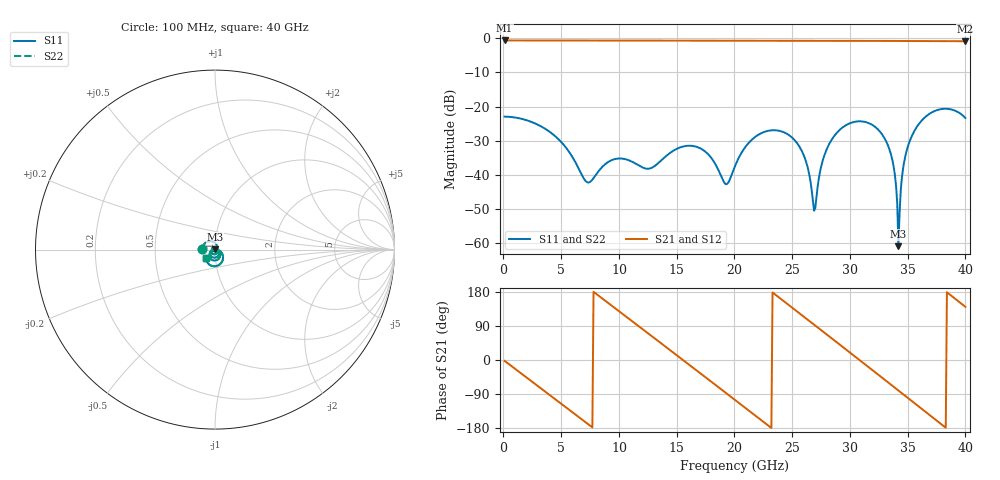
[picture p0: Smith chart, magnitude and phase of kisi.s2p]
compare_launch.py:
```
"""Compare CST results of the connector launch (cst_launch.py) with kisi-fdtd's board-side launch cases and
Samtec's RF characterization report (README_cst_launch.md).

  python3 compare_launch.py --cst launch1=OUT/launch1_default_jlc4_7628/cst_mid.s2p \\
      [--cst thru2=OUT/thru2_.../cst_base.s2p] [--cst bench2=...] [--cascade launch1] \\
      [--kisi default] [--kisi-file LABEL=path.s2p] [--out compare_launch.png]

--cst LABEL=FILE    a CST Touchstone file (any number); port 1 = connector (coax, mating plane)
--cascade LABEL     also the 2xthru built from a one-connector result: S cascaded with itself reversed (exact for
                    the network when the line mode alone links the halves; coupling between the two launches across
                    the board is not in it) - the thru2 / bench2 result where the full model does not fit the mesh
--kisi VARIANT      kisi-fdtd result fdtd_ref/launch_jlc4_7628/launch_jlc4_7628_VARIANT/kisi.s2p (board side only:
                    lumped port at the board edge instead of the connector, 2.5 mm of line after the launch); compare it
                    1:1 with cst_launch.py --model board_only
--tdr PS[,PS]       also the TDR (step response of S11, Gaussian edge 10-90 % = PS ps; default 10,25) in a third panel;
                    time is the round trip from port 1 (connector models: the mating plane; the board edge then lies at
                    about 64 ps, --edge-ps); --shift LABEL=PS moves one curve (e.g. a board_only result to the edge)
Samtec's numbers (report 2023-06-01, connectors.json connector.benchmark) are drawn as markers: max |S11| (VSWR)
and |S21| at 40 GHz for one connector + 500 mil and two connectors + 1 in on their MT40 fixture.
Needs numpy and matplotlib (any Python, not CST's).
"""
import argparse, json, os
import numpy as np

HERE = os.path.dirname(os.path.abspath(__file__))
BENCH_DEFAULT = {  # connectors.json connector.benchmark (copy for use outside the repository)
    "one_connector_500mil": {"s11_max_db": [-25.4, -23.1], "at_ghz": [34.1, 37.4], "s21_db_at_40ghz": [-1.05, -0.94]},
    "two_connectors_1in": {"s11_max_db": [-20.5, -17.2], "at_ghz": [36.1, 36.9], "s21_db_at_40ghz": [-2.1, -1.88]}}


def read_touchstone(path):
    """(f in Hz, S[k, i, j]) of a .s1p / .s2p (RI, MA or DB; Hz / kHz / MHz / GHz)"""
    n = int(path.lower().rsplit(".s", 1)[1][0])
    unit, fmt = 1.0, "MA"
    vals = []
    for line in open(path, encoding="utf-8", errors="replace"):
        line = line.split("!")[0].strip()
        if not line:
            continue
        if line.startswith("#"):
            t = line[1:].upper().split()
            unit = {"HZ": 1.0, "KHZ": 1e3, "MHZ": 1e6, "GHZ": 1e9}.get(t[0], 1e9) if t else 1e9
            fmt = next((x for x in t if x in ("RI", "MA", "DB")), "MA")
            continue
        vals += [float(x) for x in line.split()]
    per = 1 + 2 * n * n
    a = np.array(vals).reshape(-1, per)
    f = a[:, 0] * unit
    p = a[:, 1:].reshape(-1, n * n, 2)
    if fmt == "RI":
        c = p[..., 0] + 1j * p[..., 1]
    elif fmt == "MA":
        c = p[..., 0] * np.exp(1j * np.radians(p[..., 1]))
    else:
        c = 10 ** (p[..., 0] / 20) * np.exp(1j * np.radians(p[..., 1]))
    S = c.reshape(-1, n, n)
    if n == 2:  # Touchstone 2-port order: S11 S21 S12 S22
        S = S.transpose(0, 2, 1)
    return f, S


def cascade_self(S):
    """S of the network followed by itself reversed (port 2 joined to port 2)"""
    R = S[:, ::-1, ::-1]
    s11, s12, s21, s22 = S[:, 0, 0], S[:, 0, 1], S[:, 1, 0], S[:, 1, 1]
    r11, r12, r21, r22 = R[:, 0, 0], R[:, 0, 1], R[:, 1, 0], R[:, 1, 1]
    d = 1 - s22 * r11
    out = np.empty_like(S)
    out[:, 0, 0] = s11 + s12 * r11 * s21 / d
    out[:, 0, 1] = s12 * r12 / d
    out[:, 1, 0] = r21 * s21 / d
    out[:, 1, 1] = r22 + r21 * s22 * r12 / d
    return out


def step_response(f, s, rise=25e-12, tmax=None):
    """response to a unit step with a Gaussian edge (10-90 % = rise) of S sampled on f_k = k df (as
    validation/fdtd/sparam.step_response); t = 0 at the middle of the edge"""
    if f[0] == 0:
        f, s = f[1:], s[1:]
    nf = len(f)
    df = f[1] - f[0]
    sig = rise / 2.563
    t0 = 3.0 * rise
    g = np.exp(-0.5 * (2 * np.pi * f * sig) ** 2) * np.exp(-2j * np.pi * f * t0)
    spec = np.concatenate([[s[0].real], s * g])
    n = 8 * nf
    v = np.cumsum(np.fft.irfft(spec, n))
    t = np.arange(n) / (n * df) - t0
    k = (t >= 0) & ((t <= tmax) if tmax else (t < n / (2 * n * df) - t0))
    return t[k], v[k]


def tdr(f, s11, rise=25e-12, z0=50.0, tmax=None):
    t, rho = step_response(f, s11, rise, tmax)
    return t, z0 * (1 + rho) / (1 - rho)


def db(x):
    return 20 * np.log10(np.maximum(np.abs(x), 1e-12))


def vswr(s11_db):
    g = 10 ** (np.asarray(s11_db) / 20)
    return (1 + g) / (1 - g)


def summary(label, f, S, band=(0.5e9, 40e9)):
    m = (f >= band[0]) & (f <= band[1] + 1)
    s11 = db(S[m, 0, 0])
    k = int(np.argmax(s11))
    at = lambda g: db(S[np.argmin(abs(f - g * 1e9)), 0, 0]) if f[-1] >= g * 1e9 * 0.999 else float("nan")
    row = {"label": label, "s11_max_db": float(s11[k]), "at_ghz": float(f[m][k] / 1e9), "vswr_max": float(vswr(s11[k])),
           "s11_10_20_30_40": [float(at(g)) for g in (10, 20, 30, 40)]}
    if S.shape[1] == 2 and np.all(np.isfinite(S[:, 1, 0])):
        i40 = np.argmin(abs(f - 40e9))
        row["s21_db_40"] = float(db(S[i40, 1, 0])) if f[-1] >= 39.9e9 else float("nan")
    return row


def main():
    ap = argparse.ArgumentParser(description=__doc__.split("\n")[0])
    ap.add_argument("--cst", action="append", default=[], help="LABEL=FILE")
    ap.add_argument("--cascade", action="append", default=[], help="LABEL of a one-connector --cst result")
    ap.add_argument("--kisi", action="append", default=[], help="kisi-fdtd launch variant (fdtd_ref/launch_jlc4_7628/)")
    ap.add_argument("--kisi-file", action="append", default=[], help="LABEL=FILE: other kisi-fdtd result")
    ap.add_argument("--stackup", default="jlc4_7628")
    ap.add_argument("--fmax", type=float, default=40e9)
    ap.add_argument("--out", default="compare_launch.png")
    ap.add_argument("--json", default="", help="also write the summary table as JSON")
    ap.add_argument("--tdr", default="10,25", help="TDR edge(s) in ps (empty: no TDR panel)")
    ap.add_argument("--tmax", type=float, default=200.0, help="TDR time range (ps)")
    ap.add_argument("--edge-ps", type=float, default=64.0, help="round trip mating plane -> board edge (9.6 mm of air line)")
    ap.add_argument("--shift", action="append", default=[], help="LABEL=PS: shift the TDR of a curve by PS ps")
    a = ap.parse_args()
    curves = []  # (label, f, S, style)
    notes = []
    for item in a.cst:
        lab, _, p = item.partition("=")
        f, S = read_touchstone(p)
        curves.append((f"CST {lab}", f, S, "-"))
        head = "".join(line for line in open(p, encoding="utf-8", errors="replace") if line.startswith("!"))
        if "constant conductivity" in head and lab not in notes:
            notes.append(lab)
    if notes:
        print("note: " + ", ".join(notes) + ": dielectric loss as a constant conductivity (exact at fmax/2, as kisi-fdtd): a shunt "
              "conductance at every frequency, so about -20 dB |S11| and -1 dB |S21| at low frequency on 12.5 mm of FR-4 and a TDR that "
              "drifts below 50 ohm along the line - a convention for the comparison with kisi-fdtd, not the board (cst_launch.py --loss tand)")
    for lab in a.cascade:
        src = next((c for c in curves if c[0] == f"CST {lab}"), None)
        if src is None or src[2].shape[1] != 2:
            raise SystemExit(f"--cascade {lab}: no 2-port --cst result with that label")
        curves.append((f"CST {lab} cascaded (2xthru)", src[1], cascade_self(src[2]), "-."))
    kis = [(v, os.path.join(HERE, "fdtd_ref", f"launch_{a.stackup}", f"launch_{a.stackup}_{v}", "kisi.s2p")) for v in a.kisi]
    kis += [tuple(x.partition("=")[::2]) for x in a.kisi_file]
    for lab, p in kis:
        f, S = read_touchstone(p)
        curves.append((f"kisi-fdtd {lab} (board side, edge port)", f, S, "--"))
    if not curves:
        raise SystemExit("nothing to compare: --cst / --kisi")
    try:
        bench = json.load(open(os.path.join(HERE, "connectors.json"), encoding="utf-8"))["connector"]["benchmark"]
    except (OSError, KeyError, ValueError):
        bench = BENCH_DEFAULT
    rows = [summary(lab, f, S) for lab, f, S, _ in curves]
    print(f"{'result':58s} {'max|S11| 0.5-40':>16s} {'at GHz':>7s} {'VSWR':>6s}  {'|S11| 10/20/30/40 GHz':>24s} {'|S21| 40 GHz':>12s}")
    for r in rows:
        print(f"{r['label'][:58]:58s} {r['s11_max_db']:13.1f} dB {r['at_ghz']:7.1f} {r['vswr_max']:6.2f}  "
              + " / ".join(f"{v:5.1f}" for v in r["s11_10_20_30_40"]) + f" {r.get('s21_db_40', float('nan')):9.2f} dB")
    for key, txt in (("one_connector_500mil", "Samtec, 1 connector + 500 mil"), ("two_connectors_1in", "Samtec, 2 connectors + 1 in")):
        b = bench[key]
        print(f"{txt:58s} {max(b['s11_max_db']):13.1f} dB {b['at_ghz'][int(np.argmax(b['s11_max_db']))]:7.1f} "
              f"{vswr(max(b['s11_max_db'])):6.2f}  (MT40 fixture, report 2023-06-01)       {min(b['s21_db_at_40ghz']):9.2f} dB")
    if a.json:
        json.dump({"rows": rows, "samtec": bench}, open(a.json, "w", encoding="utf-8"), indent=1)
    import matplotlib
    matplotlib.use("Agg")
    import matplotlib.pyplot as plt
    rises = [float(x) for x in a.tdr.split(",") if x.strip()]
    if rises:
        fig, axs = plt.subplots(3, 1, figsize=(10, 11.5))
        ax1, ax2, ax3 = axs
    else:
        fig, (ax1, ax2) = plt.subplots(2, 1, figsize=(10, 8), sharex=True)
    shift = {k: float(v) for k, _, v in (x.partition("=") for x in a.shift)}
    for ci, (lab, f, S, ls) in enumerate(curves):
        m = f <= a.fmax * 1.001
        col = f"C{ci % 10}"
        ax1.plot(f[m] / 1e9, db(S[m, 0, 0]), ls, color=col, lw=1.3, label=lab + " S11")
        if S.shape[1] == 2 and np.all(np.isfinite(S[m, 1, 1])) and np.any(S[m, 1, 1] != 0) and not lab.startswith("kisi"):
            ax1.plot(f[m] / 1e9, db(S[m, 1, 1]), ":", color=col, lw=0.9, label=lab + " S22")
        if S.shape[1] == 2 and np.all(np.isfinite(S[m, 1, 0])):
            ax2.plot(f[m] / 1e9, db(S[m, 1, 0]), ls, color=col, lw=1.3, label=lab)
        if rises:
            uniform = np.allclose(np.diff(f), f[1] - f[0], rtol=1e-6) and abs(f[0] - (f[1] - f[0])) < 1e-3 * f[1] or f[0] == 0
            if not uniform:
                continue
            sh = shift.get(lab.split(" ", 1)[1].split(" (")[0] if " " in lab else lab, 0.0)
            for ri, r in enumerate(rises):
                t, z = tdr(f, S[:, 0, 0], r * 1e-12, tmax=a.tmax * 1e-12)
                ax3.plot(t * 1e12 + sh, z, ["-", "--", ":"][ri % 3], color=col, lw=1.2 if ri == 0 else 0.9,
                         label=f"{lab}, {r:g} ps" + (f" (shifted {sh:+g} ps)" if sh else ""))
    if rises:
        ax3.axhline(50, color="#888", lw=0.6)
        ax3.axvline(a.edge_ps, color="#c02020", lw=0.8, ls=":")
        ax3.annotate("board edge (connector models)", (a.edge_ps, ax3.get_ylim()[1]), fontsize=7, color="#c02020", va="top", rotation=90, ha="right")
        ax3.set_xlabel("round trip from port 1 / ps")
        ax3.set_ylabel("TDR Z / ohm")
        ax3.grid(alpha=0.3)
        ax3.legend(fontsize=6, loc="lower right")
        ax2.set_xlabel("f / GHz")
    for key, mk, txt in (("one_connector_500mil", "v", "Samtec 1 conn. + 500 mil"), ("two_connectors_1in", "^", "Samtec 2 conn. + 1 in")):
        b = bench[key]
        ax1.plot(b["at_ghz"], b["s11_max_db"], mk, color="k", ms=7, ls="none", label=f"{txt}: max |S11| (2 samples)")
        ax2.plot([40, 40], b["s21_db_at_40ghz"], mk, color="k", ms=7, ls="none", label=f"{txt}: |S21| at 40 GHz")
    ax1.axhline(-20, color="#c02020", lw=0.8, ls=":", label="target one launch: -20 dB")
    ax1.set_ylabel("|S11| / dB (connector side)")
    ax1.set_ylim(-50, 0)
    ax2.set_ylabel("|S21| / dB")
    ax1.set_xlabel("f / GHz")
    ax2.set_xlabel("f / GHz")
    for ax in (ax1, ax2):
        ax.grid(alpha=0.3)
        ax.legend(fontsize=7, loc="lower left" if ax is ax1 else "lower left")
    ax1.set_title("Samtec 292-J-P-EP-ST-EL-01 launch: CST (connector modelled) vs kisi-fdtd (board side) vs Samtec's report", fontsize=10)
    fig.tight_layout()
    fig.savefig(a.out, dpi=130)
    print("plot:", a.out)


if __name__ == "__main__":
    main()
```
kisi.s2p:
! kisi-coupons-jlc4-a__THRU_L1__w10: 2×thru on F.Cu (top connectors), 25 mm edge to edge [w10: 10 mm of the feed line: 3D 2×thru of the via coupons (window w10)]
! stackup: JLCPCB JLC04161H-7628, 4 layers, 1.6 mm, outer 1 oz, inner 0.5 oz (JLC's default 4-layer impedance template)
! ports: 1, 2
! kisi-fdtd, conformal, dfine 0.035 mm, 753597 cells
# Hz S RI R 50
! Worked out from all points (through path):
!   400 points, 100 MHz to 40 GHz, reference 50 ohm
!   highest |S21| = -0.63 dB at 100 MHz (marker M1); lowest = -0.9 dB at 40 GHz (marker M2)
!   group delay of S21, straight-line fit = 65.2 ps
!   lowest |S11| = -60.9 dB at 34.2 GHz (marker M3), VSWR 1.00, Z = 49.9 + j0.0662 ohm
!   |S11| at or under -10 dB: start of sweep to end of sweep
!   |S22| runs from -60.9 to -20.6 dB; largest |S21 - S12| = 0
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1e8  -0.0713 0.00246  0.9293 -0.0375  0.9293 -0.0375  -0.0713 0.00246
7.3e9  0.00534 -0.00563  -0.9086 -0.1841  -0.9086 -0.1841  0.00534 -0.00563
1.2e10  0.00164 0.0129  0.1202 0.9181  0.1202 0.9181  0.00164 0.0129
1.59e10  -0.0071 -0.0257  0.9147 -0.1328  0.9147 -0.1328  -0.0071 -0.0257
2.01e10  0.014 0.00177  -0.2623 -0.8846  -0.2623 -0.8846  0.014 0.00177
2.7e10  0.00168 0.00281  -0.0142 0.9192  -0.0142 0.9192  0.00168 0.00281
3.17e10  -0.0242 -0.0512  0.8573 -0.3243  0.8573 -0.3243  -0.0242 -0.0512
3.36e10  -0.0178 -0.00545  0.371 -0.8365  0.371 -0.8365  -0.0178 -0.00545
3.42e10  -0.000617 0.000663  0.1519 -0.9017  0.1519 -0.9017  -0.000617 0.000663
3.55e10  0.0372 -0.0182  -0.3357 -0.8488  -0.3357 -0.8488  0.0372 -0.0182
4e10  -0.05 -0.0464  -0.6971 0.5792  -0.6971 0.5792  -0.05 -0.0464
